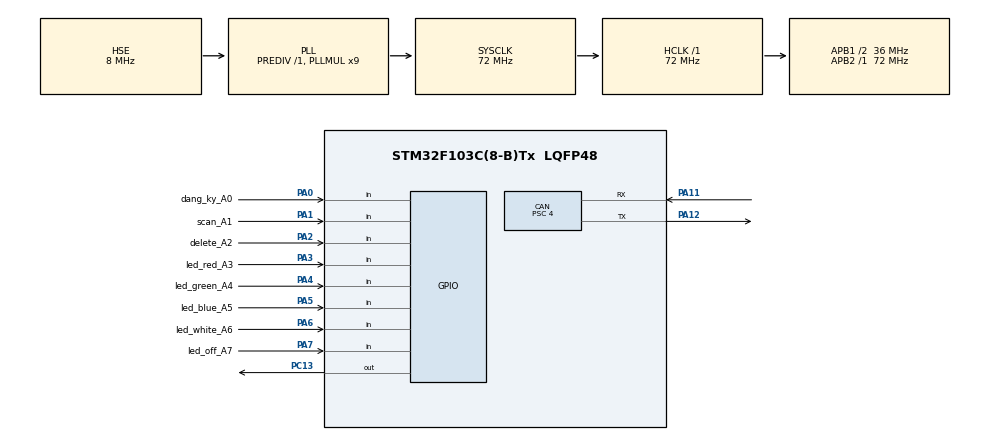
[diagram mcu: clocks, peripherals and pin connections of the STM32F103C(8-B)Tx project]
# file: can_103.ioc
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CAN.BS1=CAN_BS1_15TQ
CAN.BS2=CAN_BS2_2TQ
CAN.CalculateBaudRate=500000
CAN.CalculateTimeBit=2000
CAN.CalculateTimeQuantum=111.11111111111111
CAN.Prescaler=4
Mcu.Family=STM32F1
Mcu.Name=STM32F103C(8-B)Tx
Mcu.Package=LQFP48
NVIC.PriorityGroup=NVIC_PRIORITYGROUP_4
NVIC.USB_LP_CAN1_RX0_IRQn=true\:0\:0\:false\:false\:true\:true\:true\:true
PA0-WKUP.GPIO_Label=dang_ky_A0
PA0-WKUP.GPIO_PuPd=GPIO_PULLUP
PA0-WKUP.Signal=GPIO_Input
PA1.GPIO_Label=scan_A1
PA1.GPIO_PuPd=GPIO_PULLUP
PA1.Signal=GPIO_Input
PA11.Mode=CAN_Activate
PA11.Signal=CAN_RX
PA12.Mode=CAN_Activate
PA12.Signal=CAN_TX
PA13.Mode=Serial_Wire
PA13.Signal=SYS_JTMS-SWDIO
PA14.Mode=Serial_Wire
PA14.Signal=SYS_JTCK-SWCLK
PA2.GPIO_Label=delete_A2
PA2.GPIO_PuPd=GPIO_PULLUP
PA2.Signal=GPIO_Input
PA3.GPIO_Label=led_red_A3
PA3.GPIO_PuPd=GPIO_PULLUP
PA3.Signal=GPIO_Input
PA4.GPIO_Label=led_green_A4
PA4.GPIO_PuPd=GPIO_PULLUP
PA4.Signal=GPIO_Input
PA5.GPIO_Label=led_blue_A5
PA5.GPIO_PuPd=GPIO_PULLUP
PA5.Signal=GPIO_Input
PA6.GPIO_Label=led_white_A6
PA6.GPIO_PuPd=GPIO_PULLUP
PA6.Signal=GPIO_Input
PA7.GPIO_Label=led_off_A7
PA7.GPIO_PuPd=GPIO_PULLUP
PA7.Signal=GPIO_Input
PC13-TAMPER-RTC.Signal=GPIO_Output
PD0-OSC_IN.Mode=HSE-External-Oscillator
PD0-OSC_IN.Signal=RCC_OSC_IN
PD1-OSC_OUT.Mode=HSE-External-Oscillator
PD1-OSC_OUT.Signal=RCC_OSC_OUT
ProjectManager.HeapSize=0x200
ProjectManager.StackSize=0x400
ProjectManager.TargetToolchain=STM32CubeIDE
RCC.AHBFreq_Value=72000000
RCC.APB1CLKDivider=RCC_HCLK_DIV2
RCC.APB1Freq_Value=36000000
RCC.APB1TimFreq_Value=72000000
RCC.APB2Freq_Value=72000000
RCC.APB2TimFreq_Value=72000000
RCC.HCLKFreq_Value=72000000
RCC.PLLMUL=RCC_PLL_MUL9
RCC.PLLSourceVirtual=RCC_PLLSOURCE_HSE
RCC.SYSCLKFreq_VALUE=72000000
RCC.SYSCLKSource=RCC_SYSCLKSOURCE_PLLCLK
RCC.USBFreq_Value=72000000
board=custom

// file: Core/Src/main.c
/* USER CODE BEGIN Header */
/**
  ******************************************************************************
  * @file           : main.c
  * @brief          : Main program body
  ******************************************************************************
  * @attention
  *
  * Copyright (c) 2023 STMicroelectronics.
  * All rights reserved.
  *
  * This software is licensed under terms that can be found in the LICENSE file
  * in the root directory of this software component.
  * If no LICENSE file comes with this software, it is provided AS-IS.
  *
  ******************************************************************************
  */
/* USER CODE END Header */
#include "main.h"

CAN_HandleTypeDef hcan;

void SystemClock_Config(void);
static void MX_GPIO_Init(void);
static void MX_CAN_Init(void);
/* USER CODE BEGIN PFP */
CAN_TxHeaderTypeDef   TxHeader;
CAN_RxHeaderTypeDef   RxHeader;
CAN_FilterTypeDef  		sFilterConfig;

uint8_t TxData[8];
uint8_t RxData[8];

uint32_t TxMailbox;

void CanTx_Init(void){
	//================can tx===================//
	TxHeader.StdId = 0x7A2;//dia chi cua can
	TxHeader.RTR = CAN_RTR_DATA;
	TxHeader.IDE = CAN_ID_STD;
	TxHeader.DLC = 8;	//so byte truyen di
	TxHeader.TransmitGlobalTime = DISABLE;
	HAL_CAN_Start(&hcan);
}
void CanRx_Init_Mask()
{
	//=================can filter==============//
	/* -------------------------------id 0X103 ----------------------------------*/
	sFilterConfig.FilterBank = 0;
	sFilterConfig.FilterMode = CAN_FILTERMODE_IDMASK;
	sFilterConfig.FilterScale = CAN_FILTERSCALE_32BIT;
	sFilterConfig.FilterIdHigh = 0x7AA<<5;
	sFilterConfig.FilterIdLow = 0;
	sFilterConfig.FilterMaskIdHigh = 0x7AA<<5;
	sFilterConfig.FilterMaskIdLow = 0;
	sFilterConfig.FilterFIFOAssignment = CAN_RX_FIFO0;
	sFilterConfig.FilterActivation = ENABLE;
	HAL_CAN_ConfigFilter(&hcan, &sFilterConfig);
	//==================cho phep can hoat dong=================//
	HAL_CAN_Start(&hcan);
	//==================kich hoat ngat can=====================//
	HAL_CAN_ActivateNotification(&hcan,CAN_IT_RX_FIFO0_MSG_PENDING);
}

 		void CanRx_Init_List()
		{
			//=================can filter==============//
			/* -------------------------------id 0X103 ----------------------------------*/
			sFilterConfig.FilterBank = 0;
			sFilterConfig.FilterMode = CAN_FILTERMODE_IDLIST;
			sFilterConfig.FilterScale = CAN_FILTERSCALE_16BIT;
			sFilterConfig.FilterIdHigh = 0x104<<5;  // chỉ nhận dữ liệu từ node 0x104
			sFilterConfig.FilterIdLow = 0;
			sFilterConfig.FilterFIFOAssignment = CAN_RX_FIFO0;
			sFilterConfig.FilterActivation = ENABLE;
			HAL_CAN_ConfigFilter(&hcan, &sFilterConfig);
			//==================cho phep can hoat dong=================//
			HAL_CAN_Start(&hcan);
			//==================kich hoat ngat can=====================//
			HAL_CAN_ActivateNotification(&hcan,CAN_IT_RX_FIFO0_MSG_PENDING);
		}

 		void CanRx_Init_List1()
		{
			//=================can filter==============//
			/* -------------------------------id 0X103 ----------------------------------*/
			sFilterConfig.FilterBank = 1;
			sFilterConfig.FilterMode = CAN_FILTERMODE_IDLIST;
			sFilterConfig.FilterScale = CAN_FILTERSCALE_16BIT;
			sFilterConfig.FilterIdHigh = 0x446<<5;  // chỉ nhận dữ liệu từ node 0x446
			sFilterConfig.FilterIdLow = 0;
			sFilterConfig.FilterFIFOAssignment = CAN_RX_FIFO0;
			sFilterConfig.FilterActivation = ENABLE;
			HAL_CAN_ConfigFilter(&hcan, &sFilterConfig);
			//==================cho phep can hoat dong=================//
			HAL_CAN_Start(&hcan);
			//==================kich hoat ngat can=====================//
			HAL_CAN_ActivateNotification(&hcan,CAN_IT_RX_FIFO0_MSG_PENDING);
		}

///////
void Send_Buffer(unsigned char data0, unsigned char data1, unsigned char data2, unsigned char data3, unsigned char data4, unsigned char data5, unsigned char data6, unsigned char data7){
   TxData[0] = data0;
   TxData[1] = data1;
   TxData[2] = data2;
   TxData[3] = data3;
   TxData[4] = data4;
   TxData[5] = data5;
   TxData[6] = data6;
   TxData[7] = data7;
   HAL_CAN_AddTxMessage(&hcan, &TxHeader, TxData, &TxMailbox);
}
//
void Send_CAN(){
	switch (~(GPIOA->IDR) & 0xFF){
		case 0x01:
			TxHeader.StdId = 0x7A2;
			HAL_CAN_Start(&hcan);
			Send_Buffer(0x04, 0x2E, 0xB0, 0x06, 0x01, 0x00, 0x00, 0);
			break;
		case 0x02:
			TxHeader.StdId = 0x7A2;
			HAL_CAN_Start(&hcan);
			Send_Buffer(0x04, 0x2E, 0xB0, 0x06, 0x02, 0x00, 0x00, 0);
			break;
		case 0x04:
			TxHeader.StdId = 0x7A2;
			HAL_CAN_Start(&hcan);
			Send_Buffer(0x04, 0x2E, 0xB0, 0x06, 0x03, 0x00, 0x00, 0);
			break;
		case 0x08:
			TxHeader.StdId = 0x2df;
			HAL_CAN_Start(&hcan);
			Send_Buffer(0xFF, 0, 0, 0x10, 0x0, 0x0, 0x00, 0x00);
			break;
		case 0x10:
			TxHeader.StdId = 0x2df;
			HAL_CAN_Start(&hcan);
			Send_Buffer(0x0, 0x0, 0xfe, 0x13, 0x0, 0x0, 0x00, 0x00);

			break;
		case 0x20:
			TxHeader.StdId = 0x2df;
			HAL_CAN_Start(&hcan);
			Send_Buffer(0x0, 0xfe, 0x01, 0x10, 0x0, 0x0, 0x00, 0x00);

			break;
		case 0x40:
			TxHeader.StdId = 0x2df;
			HAL_CAN_Start(&hcan);
			Send_Buffer(0xFF, 0xFE, 0xfd, 0x13, 0x0, 0x0, 0x00, 0x00);

			break;
		case 0x80:
			TxHeader.StdId = 0x2df;
			HAL_CAN_Start(&hcan);
			Send_Buffer(0x00, 0x00, 0x0, 0x08, 0x0, 0x0, 0x00, 0x00);
			break;
		default:
			break;
	}
//	if((!HAL_GPIO_ReadPin(GPIOA, dang_ky_A0_Pin))||(!HAL_GPIO_ReadPin(GPIOA, scan_A1_Pin))||(!HAL_GPIO_ReadPin(GPIOA, delete_A2_Pin))){
//		TxHeader.StdId = 0x7A2;
//		HAL_CAN_Start(&hcan);
//		if(!HAL_GPIO_ReadPin(GPIOA, dang_ky_A0_Pin))	Send_Buffer(0x04, 0x2E, 0xB0, 0x06, 0x01, 0x00, 0x00, 0);
//		if(!HAL_GPIO_ReadPin(GPIOA, scan_A1_Pin))	    Send_Buffer(0x04, 0x2E, 0xB0, 0x06, 0x02, 0x00, 0x00, 0);
//		if(!HAL_GPIO_ReadPin(GPIOA, delete_A2_Pin))	    Send_Buffer(0x04, 0x2E, 0xB0, 0x06, 0x03, 0x00, 0x00, 0);
//	}
//	if((!HAL_GPIO_ReadPin(GPIOA, led_red_A3_Pin))||(!HAL_GPIO_ReadPin(GPIOA, led_blue_A5_Pin))||(!HAL_GPIO_ReadPin(GPIOA, led_green_A4_Pin))||(!HAL_GPIO_ReadPin(GPIOA, led_white_A6_GPIO_Port))||(!HAL_GPIO_ReadPin(GPIOA, led_off_A7_Pin))) {
//		TxHeader.StdId = 0x2df;
//		HAL_CAN_Start(&hcan);
//		if(!HAL_GPIO_ReadPin(GPIOA, led_red_A3_Pin))	    Send_Buffer(0xFF, 0, 0, 0x10, 0x0, 0x0, 0x00, 0x00);
//		if(!HAL_GPIO_ReadPin(GPIOA, led_blue_A5_Pin))	    Send_Buffer(0x0, 0x0, 0xfe, 0x13, 0x0, 0x0, 0x00, 0x00);
//		if(!HAL_GPIO_ReadPin(GPIOA, led_green_A4_Pin))	    Send_Buffer(0x0, 0xfe, 0x01, 0x10, 0x0, 0x0, 0x00, 0x00);
//		if(!HAL_GPIO_ReadPin(GPIOA, led_white_A6_Pin))	    Send_Buffer(0xFF, 0xFE, 0xfd, 0x13, 0x0, 0x0, 0x00, 0x00);
//		if(!HAL_GPIO_ReadPin(GPIOA, led_off_A7_Pin))	    Send_Buffer(0x00, 0x00, 0x0, 0x08, 0x0, 0x0, 0x00, 0x00);
//	}

}

/* USER CODE END PFP */

int main(void)
{

  /* MCU Configuration--------------------------------------------------------*/

  /* Reset of all peripherals, Initializes the Flash interface and the Systick. */
  HAL_Init();

  /* Configure the system clock */
  SystemClock_Config();

  /* Initialize all configured peripherals */
  MX_GPIO_Init();
  MX_CAN_Init();
  /* USER CODE BEGIN 2 */
  CanTx_Init();
  CanRx_Init_Mask();
  /* USER CODE END 2 */

  /* Infinite loop */
  /* USER CODE BEGIN WHILE */
  //Send_Buffer(0x04, 0x2E, 0xB0, 0x06, 0x01, 0x00, 0x00, 0);
  while (1)
  {

    /* USER CODE END WHILE */
	  Send_CAN();
    /* USER CODE BEGIN 3 */
//	  HAL_CAN_AddTxMessage(&hcan, &TxHeader, TxData, &TxMailbox); //
	  //HAL_Delay(200);
	  //Send_Buffer(0x04, 0x2E, 0x2E, 0xB0, 0x06, 0x01, 0x00, 0x00);
  }
  /* USER CODE END 3 */
}

void SystemClock_Config(void)
{
  RCC_OscInitTypeDef RCC_OscInitStruct = {0};
  RCC_ClkInitTypeDef RCC_ClkInitStruct = {0};

  /** Initializes the RCC Oscillators according to the specified parameters
  * in the RCC_OscInitTypeDef structure.
  */
  RCC_OscInitStruct.OscillatorType = RCC_OSCILLATORTYPE_HSE;
  RCC_OscInitStruct.HSEState = RCC_HSE_ON;
  RCC_OscInitStruct.HSEPredivValue = RCC_HSE_PREDIV_DIV1;
  RCC_OscInitStruct.HSIState = RCC_HSI_ON;
  RCC_OscInitStruct.PLL.PLLState = RCC_PLL_ON;
  RCC_OscInitStruct.PLL.PLLSource = RCC_PLLSOURCE_HSE;
  RCC_OscInitStruct.PLL.PLLMUL = RCC_PLL_MUL9;
  if (HAL_RCC_OscConfig(&RCC_OscInitStruct) != HAL_OK)
  {
    Error_Handler();
  }

  /** Initializes the CPU, AHB and APB buses clocks
  */
  RCC_ClkInitStruct.ClockType = RCC_CLOCKTYPE_HCLK|RCC_CLOCKTYPE_SYSCLK
                              |RCC_CLOCKTYPE_PCLK1|RCC_CLOCKTYPE_PCLK2;
  RCC_ClkInitStruct.SYSCLKSource = RCC_SYSCLKSOURCE_PLLCLK;
  RCC_ClkInitStruct.AHBCLKDivider = RCC_SYSCLK_DIV1;
  RCC_ClkInitStruct.APB1CLKDivider = RCC_HCLK_DIV2;
  RCC_ClkInitStruct.APB2CLKDivider = RCC_HCLK_DIV1;

  if (HAL_RCC_ClockConfig(&RCC_ClkInitStruct, FLASH_LATENCY_2) != HAL_OK)
  {
    Error_Handler();
  }
}

static void MX_CAN_Init(void)
{

  hcan.Instance = CAN1;
  hcan.Init.Prescaler = 4;
  hcan.Init.Mode = CAN_MODE_NORMAL;
  hcan.Init.SyncJumpWidth = CAN_SJW_1TQ;
  hcan.Init.TimeSeg1 = CAN_BS1_15TQ;
  hcan.Init.TimeSeg2 = CAN_BS2_2TQ;
  hcan.Init.TimeTriggeredMode = DISABLE;
  hcan.Init.AutoBusOff = DISABLE;
  hcan.Init.AutoWakeUp = DISABLE;
  hcan.Init.AutoRetransmission = DISABLE;
  hcan.Init.ReceiveFifoLocked = DISABLE;
  hcan.Init.TransmitFifoPriority = DISABLE;
  if (HAL_CAN_Init(&hcan) != HAL_OK)
  {
    Error_Handler();
  }

}

static void MX_GPIO_Init(void)
{
  GPIO_InitTypeDef GPIO_InitStruct = {0};

  /* GPIO Ports Clock Enable */
  __HAL_RCC_GPIOC_CLK_ENABLE();
  __HAL_RCC_GPIOD_CLK_ENABLE();
  __HAL_RCC_GPIOA_CLK_ENABLE();

  /*Configure GPIO pin Output Level */
  HAL_GPIO_WritePin(GPIOC, GPIO_PIN_13, GPIO_PIN_RESET);

  /*Configure GPIO pin : PC13 */
  GPIO_InitStruct.Pin = GPIO_PIN_13;
  GPIO_InitStruct.Mode = GPIO_MODE_OUTPUT_PP;
  GPIO_InitStruct.Pull = GPIO_NOPULL;
  GPIO_InitStruct.Speed = GPIO_SPEED_FREQ_LOW;
  HAL_GPIO_Init(GPIOC, &GPIO_InitStruct);

  /*Configure GPIO pins : dang_ky_A0_Pin scan_A1_Pin delete_A2_Pin led_red_A3_Pin
                           led_green_A4_Pin led_blue_A5_Pin led_white_A6_Pin led_off_A7_Pin */
  GPIO_InitStruct.Pin = dang_ky_A0_Pin|scan_A1_Pin|delete_A2_Pin|led_red_A3_Pin
                          |led_green_A4_Pin|led_blue_A5_Pin|led_white_A6_Pin|led_off_A7_Pin;
  GPIO_InitStruct.Mode = GPIO_MODE_INPUT;
  GPIO_InitStruct.Pull = GPIO_PULLUP;
  HAL_GPIO_Init(GPIOA, &GPIO_InitStruct);

}

void Error_Handler(void)
{
  __disable_irq();
  while (1)
  {
  }
}
